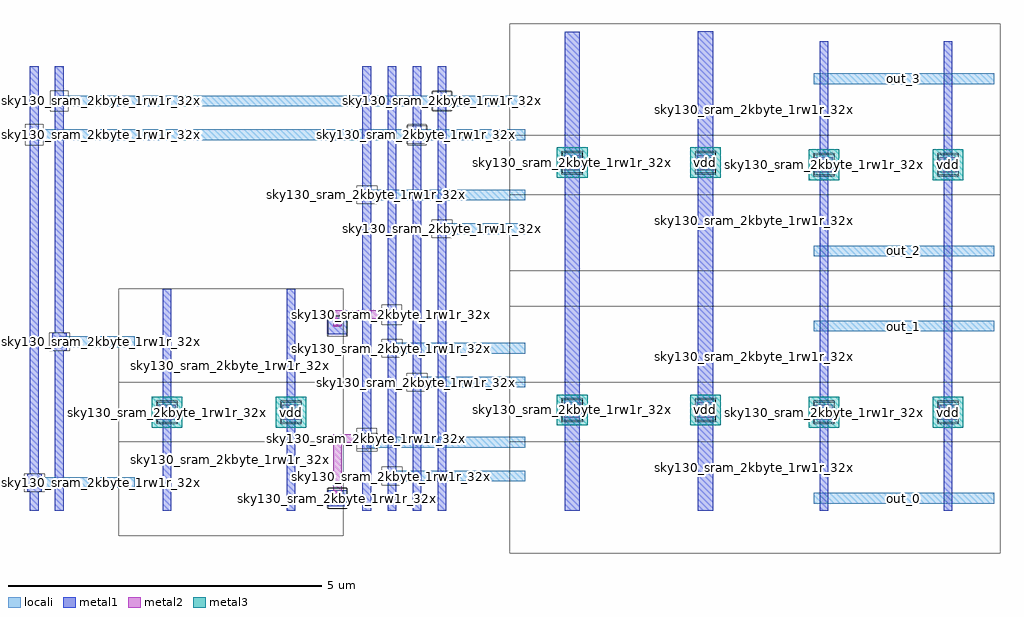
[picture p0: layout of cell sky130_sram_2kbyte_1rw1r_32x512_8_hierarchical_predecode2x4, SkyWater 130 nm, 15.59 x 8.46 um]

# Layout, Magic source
magic
tech sky130A
magscale 1 2
<< locali >>
rect 2583 1443 3160 1477
rect 174 1372 1662 1406
rect 94 1264 1662 1298
rect 1156 1072 1662 1106
rect 1396 964 1662 998
rect 2583 893 3160 927
rect 2583 653 3160 687
rect 174 603 414 637
rect 1236 582 1662 616
rect 1316 474 1662 508
rect 1156 282 1662 316
rect 94 153 414 187
rect 1236 174 1662 208
rect 2583 103 3160 137
<< metal1 >>
rect 80 199 108 1500
rect 160 649 188 1500
rect 151 591 197 649
rect 71 141 117 199
rect 80 80 108 141
rect 160 80 188 591
rect 504 80 532 790
rect 900 80 928 790
rect 1030 644 1094 696
rect 1030 94 1094 146
rect 1142 80 1170 1500
rect 1222 80 1250 1500
rect 1302 80 1330 1500
rect 1382 80 1410 1500
rect 1788 80 1836 1610
rect 2212 80 2262 1612
rect 2602 80 2630 1580
rect 2998 80 3026 1580
<< metal2 >>
rect 1784 1168 1840 1216
rect 2209 1168 2265 1216
rect 2588 1161 2644 1209
rect 2984 1161 3040 1209
rect 1048 692 1236 720
rect 1048 670 1076 692
rect 490 371 546 419
rect 886 371 942 419
rect 1784 378 1840 426
rect 2209 378 2265 426
rect 2588 371 2644 419
rect 2984 371 3040 419
rect 1048 297 1156 325
rect 1048 120 1076 297
<< metal3 >>
rect 1763 1143 1861 1241
rect 2188 1143 2286 1241
rect 2567 1136 2665 1234
rect 2963 1136 3061 1234
rect 469 346 567 444
rect 865 346 963 444
rect 1763 353 1861 451
rect 2188 353 2286 451
rect 2567 346 2665 444
rect 2963 346 3061 444
use sky130_sram_2kbyte_1rw1r_32x512_8_and2_dec  sky130_sram_2kbyte_1rw1r_32x512_8_and2_dec_3
transform 1 0 1542 0 1 0
box 70 -56 1636 490
use sky130_sram_2kbyte_1rw1r_32x512_8_and2_dec  sky130_sram_2kbyte_1rw1r_32x512_8_and2_dec_2
transform 1 0 1542 0 -1 790
box 70 -56 1636 490
use sky130_sram_2kbyte_1rw1r_32x512_8_and2_dec  sky130_sram_2kbyte_1rw1r_32x512_8_and2_dec_1
transform 1 0 1542 0 1 790
box 70 -56 1636 490
use sky130_sram_2kbyte_1rw1r_32x512_8_and2_dec  sky130_sram_2kbyte_1rw1r_32x512_8_and2_dec_0
transform 1 0 1542 0 -1 1580
box 70 -56 1636 490
use sky130_sram_2kbyte_1rw1r_32x512_8_pinv_dec  sky130_sram_2kbyte_1rw1r_32x512_8_pinv_dec_1
transform 1 0 320 0 1 0
box 44 0 760 490
use sky130_sram_2kbyte_1rw1r_32x512_8_pinv_dec  sky130_sram_2kbyte_1rw1r_32x512_8_pinv_dec_0
transform 1 0 320 0 -1 790
box 44 0 760 490
use sky130_sram_2kbyte_1rw1r_32x512_8_contact_7  sky130_sram_2kbyte_1rw1r_32x512_8_contact_7_0
transform 1 0 2583 0 1 1148
box 0 0 66 74
use sky130_sram_2kbyte_1rw1r_32x512_8_contact_19  sky130_sram_2kbyte_1rw1r_32x512_8_contact_19_0
transform 1 0 2584 0 1 1153
box 0 0 64 64
use sky130_sram_2kbyte_1rw1r_32x512_8_contact_7  sky130_sram_2kbyte_1rw1r_32x512_8_contact_7_1
transform 1 0 1779 0 1 1155
box 0 0 66 74
use sky130_sram_2kbyte_1rw1r_32x512_8_contact_19  sky130_sram_2kbyte_1rw1r_32x512_8_contact_19_1
transform 1 0 1780 0 1 1160
box 0 0 64 64
use sky130_sram_2kbyte_1rw1r_32x512_8_contact_7  sky130_sram_2kbyte_1rw1r_32x512_8_contact_7_2
transform 1 0 2583 0 1 358
box 0 0 66 74
use sky130_sram_2kbyte_1rw1r_32x512_8_contact_19  sky130_sram_2kbyte_1rw1r_32x512_8_contact_19_2
transform 1 0 2584 0 1 363
box 0 0 64 64
use sky130_sram_2kbyte_1rw1r_32x512_8_contact_7  sky130_sram_2kbyte_1rw1r_32x512_8_contact_7_3
transform 1 0 1779 0 1 365
box 0 0 66 74
use sky130_sram_2kbyte_1rw1r_32x512_8_contact_19  sky130_sram_2kbyte_1rw1r_32x512_8_contact_19_3
transform 1 0 1780 0 1 370
box 0 0 64 64
use sky130_sram_2kbyte_1rw1r_32x512_8_contact_7  sky130_sram_2kbyte_1rw1r_32x512_8_contact_7_4
transform 1 0 485 0 1 358
box 0 0 66 74
use sky130_sram_2kbyte_1rw1r_32x512_8_contact_19  sky130_sram_2kbyte_1rw1r_32x512_8_contact_19_4
transform 1 0 486 0 1 363
box 0 0 64 64
use sky130_sram_2kbyte_1rw1r_32x512_8_contact_7  sky130_sram_2kbyte_1rw1r_32x512_8_contact_7_5
transform 1 0 2979 0 1 1148
box 0 0 66 74
use sky130_sram_2kbyte_1rw1r_32x512_8_contact_19  sky130_sram_2kbyte_1rw1r_32x512_8_contact_19_5
transform 1 0 2980 0 1 1153
box 0 0 64 64
use sky130_sram_2kbyte_1rw1r_32x512_8_contact_7  sky130_sram_2kbyte_1rw1r_32x512_8_contact_7_6
transform 1 0 2204 0 1 1155
box 0 0 66 74
use sky130_sram_2kbyte_1rw1r_32x512_8_contact_19  sky130_sram_2kbyte_1rw1r_32x512_8_contact_19_6
transform 1 0 2205 0 1 1160
box 0 0 64 64
use sky130_sram_2kbyte_1rw1r_32x512_8_contact_7  sky130_sram_2kbyte_1rw1r_32x512_8_contact_7_7
transform 1 0 2979 0 1 358
box 0 0 66 74
use sky130_sram_2kbyte_1rw1r_32x512_8_contact_19  sky130_sram_2kbyte_1rw1r_32x512_8_contact_19_7
transform 1 0 2980 0 1 363
box 0 0 64 64
use sky130_sram_2kbyte_1rw1r_32x512_8_contact_7  sky130_sram_2kbyte_1rw1r_32x512_8_contact_7_8
transform 1 0 2204 0 1 365
box 0 0 66 74
use sky130_sram_2kbyte_1rw1r_32x512_8_contact_19  sky130_sram_2kbyte_1rw1r_32x512_8_contact_19_8
transform 1 0 2205 0 1 370
box 0 0 64 64
use sky130_sram_2kbyte_1rw1r_32x512_8_contact_7  sky130_sram_2kbyte_1rw1r_32x512_8_contact_7_9
transform 1 0 881 0 1 358
box 0 0 66 74
use sky130_sram_2kbyte_1rw1r_32x512_8_contact_19  sky130_sram_2kbyte_1rw1r_32x512_8_contact_19_9
transform 1 0 882 0 1 363
box 0 0 64 64
use sky130_sram_2kbyte_1rw1r_32x512_8_contact_14  sky130_sram_2kbyte_1rw1r_32x512_8_contact_14_0
transform 1 0 1367 0 1 1356
box 0 0 58 66
use sky130_sram_2kbyte_1rw1r_32x512_8_contact_14  sky130_sram_2kbyte_1rw1r_32x512_8_contact_14_1
transform 1 0 145 0 1 1356
box 0 0 58 66
use sky130_sram_2kbyte_1rw1r_32x512_8_contact_14  sky130_sram_2kbyte_1rw1r_32x512_8_contact_14_2
transform 1 0 1287 0 1 1248
box 0 0 58 66
use sky130_sram_2kbyte_1rw1r_32x512_8_contact_14  sky130_sram_2kbyte_1rw1r_32x512_8_contact_14_3
transform 1 0 65 0 1 1248
box 0 0 58 66
use sky130_sram_2kbyte_1rw1r_32x512_8_contact_20  sky130_sram_2kbyte_1rw1r_32x512_8_contact_20_0
transform 1 0 1204 0 1 674
box 0 0 64 64
use sky130_sram_2kbyte_1rw1r_32x512_8_contact_19  sky130_sram_2kbyte_1rw1r_32x512_8_contact_19_10
transform 1 0 1030 0 1 638
box 0 0 64 64
use sky130_sram_2kbyte_1rw1r_32x512_8_contact_14  sky130_sram_2kbyte_1rw1r_32x512_8_contact_14_4
transform 1 0 1033 0 1 637
box 0 0 58 66
use sky130_sram_2kbyte_1rw1r_32x512_8_contact_20  sky130_sram_2kbyte_1rw1r_32x512_8_contact_20_1
transform 1 0 1124 0 1 279
box 0 0 64 64
use sky130_sram_2kbyte_1rw1r_32x512_8_contact_19  sky130_sram_2kbyte_1rw1r_32x512_8_contact_19_11
transform 1 0 1030 0 1 88
box 0 0 64 64
use sky130_sram_2kbyte_1rw1r_32x512_8_contact_14  sky130_sram_2kbyte_1rw1r_32x512_8_contact_14_5
transform 1 0 1033 0 1 87
box 0 0 58 66
use sky130_sram_2kbyte_1rw1r_32x512_8_contact_17  sky130_sram_2kbyte_1rw1r_32x512_8_contact_17_0
transform 1 0 1363 0 1 1360
box 0 0 66 58
use sky130_sram_2kbyte_1rw1r_32x512_8_contact_17  sky130_sram_2kbyte_1rw1r_32x512_8_contact_17_1
transform 1 0 1283 0 1 1252
box 0 0 66 58
use sky130_sram_2kbyte_1rw1r_32x512_8_contact_17  sky130_sram_2kbyte_1rw1r_32x512_8_contact_17_2
transform 1 0 1363 0 1 952
box 0 0 66 58
use sky130_sram_2kbyte_1rw1r_32x512_8_contact_17  sky130_sram_2kbyte_1rw1r_32x512_8_contact_17_3
transform 1 0 1123 0 1 1060
box 0 0 66 58
use sky130_sram_2kbyte_1rw1r_32x512_8_contact_17  sky130_sram_2kbyte_1rw1r_32x512_8_contact_17_4
transform 1 0 1203 0 1 570
box 0 0 66 58
use sky130_sram_2kbyte_1rw1r_32x512_8_contact_17  sky130_sram_2kbyte_1rw1r_32x512_8_contact_17_5
transform 1 0 1283 0 1 462
box 0 0 66 58
use sky130_sram_2kbyte_1rw1r_32x512_8_contact_17  sky130_sram_2kbyte_1rw1r_32x512_8_contact_17_6
transform 1 0 1203 0 1 162
box 0 0 66 58
use sky130_sram_2kbyte_1rw1r_32x512_8_contact_17  sky130_sram_2kbyte_1rw1r_32x512_8_contact_17_7
transform 1 0 1123 0 1 270
box 0 0 66 58
use sky130_sram_2kbyte_1rw1r_32x512_8_contact_17  sky130_sram_2kbyte_1rw1r_32x512_8_contact_17_8
transform 1 0 141 0 1 591
box 0 0 66 58
use sky130_sram_2kbyte_1rw1r_32x512_8_contact_17  sky130_sram_2kbyte_1rw1r_32x512_8_contact_17_9
transform 1 0 61 0 1 141
box 0 0 66 58
<< labels >>
rlabel metal3 s 2963 1136 3061 1234 4 vdd
rlabel metal3 s 865 346 963 444 4 vdd
rlabel metal3 s 2188 1143 2286 1241 4 vdd
rlabel metal3 s 2188 353 2286 451 4 vdd
rlabel metal3 s 2963 346 3061 444 4 vdd
rlabel metal3 s 1763 1143 1861 1241 4 gnd
rlabel metal3 s 2567 346 2665 444 4 gnd
rlabel metal3 s 469 346 567 444 4 gnd
rlabel metal3 s 2567 1136 2665 1234 4 gnd
rlabel metal3 s 1763 353 1861 451 4 gnd
rlabel metal1 s 71 141 117 199 4 in_0
rlabel metal1 s 151 591 197 649 4 in_1
rlabel locali s 2871 120 2871 120 4 out_0
rlabel locali s 2871 670 2871 670 4 out_1
rlabel locali s 2871 910 2871 910 4 out_2
rlabel locali s 2871 1460 2871 1460 4 out_3
<< properties >>
string FIXED_BBOX 0 0 3160 1580
<< end >>
